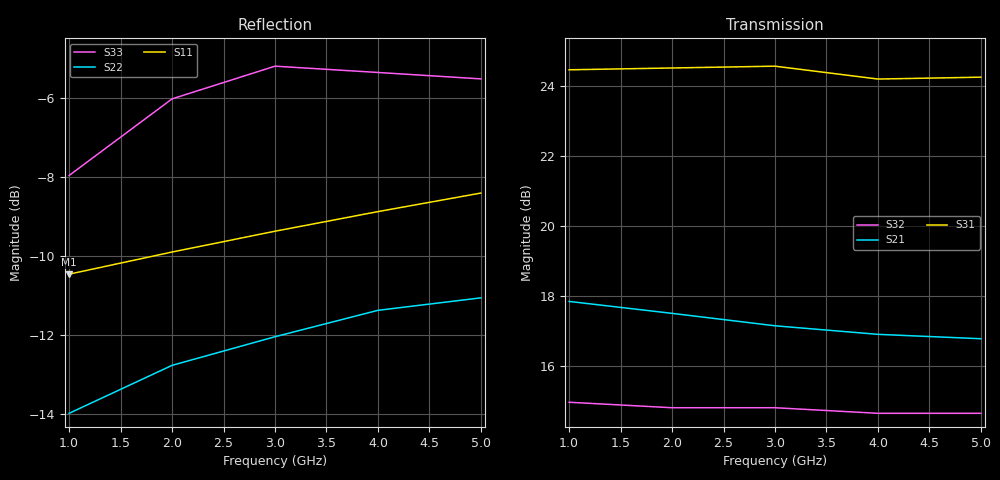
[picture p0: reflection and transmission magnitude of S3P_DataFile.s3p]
! Example template for S3P Touchstone file
! Sample 3 port data
#  GHz  S  MA  R  50
! freq  magS11  angS11  magS12  angS12  magS13  angS13
!  magS21  angS21  magS22  angS22  magS23  angS23
!  magS31  angS31  magS32  angS32  magS33  angS33
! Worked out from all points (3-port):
!   5 points, 1 GHz to 5 GHz, reference 50 ohm
!   strongest paths, dB at 1 GHz, 2 GHz, 3 GHz, 4 GHz, 5 GHz:
!     S31: 24.5, 24.5, 24.6, 24.2, 24.2
!     S21: 17.8, 17.5, 17.1, 16.9, 16.8
!     S32: 15.0, 14.8, 14.8, 14.6, 14.6
!   lowest |S11| = -10.5 dB at 1 GHz (marker M1), VSWR 1.86, Z = 51.4 + j31.9 ohm
!   |S11| at or under -10 dB: start of sweep to 1.816 GHz
1  0.3 70.0  0.001 60.0  0.002 56.0
   7.8 91.0  0.2 34.0  0.002 4.0
   16.7 56.0  5.6 45.0  0.4 67.0
2  0.32 72.0  0.002 65.0  0.004 55.0
   7.5 93.0  0.23 35.0  0.004 5.0
   16.8 57.0  5.5 44.0  0.5 68.0
3  0.34 74.0  0.003 68.0  0.006 54.0
   7.2 95.0  0.25 35.0  0.003 6.0
   16.9 60.0  5.5 43.0  0.55 68.0
4  0.36 75.0  0.003 67.0  0.008 53.0
   7 96.0  0.27 36.0  0.002 5.0
   16.2 62.0  5.4 43.0  0.54 69.0
5  0.38 76.0  0.002 66.0  0.009 50.0
   6.9 97.0  0.28 36.0  0.001 6.0
   16.3 65.0  5.4 42.0  0.53 70.0
